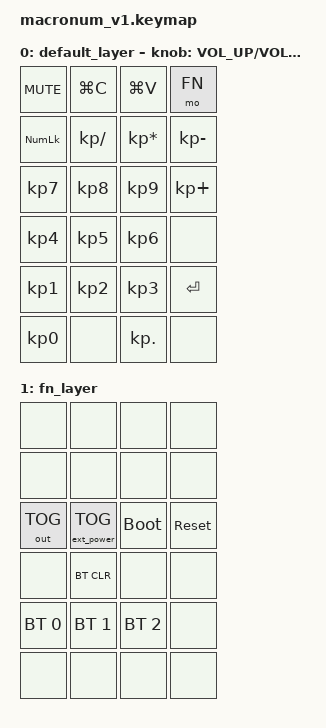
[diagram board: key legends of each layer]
/*
 * Copyright (c) 2022 The ZMK Contributors
 *
 * SPDX-License-Identifier: MIT
 */

#include <behaviors.dtsi>
#include <dt-bindings/zmk/keys.h>
#include <dt-bindings/zmk/bt.h>
#include <dt-bindings/zmk/outputs.h>
#include <dt-bindings/zmk/ext_power.h>


#define DEFAULT 0
#define FN      1

/ {
    keymap {
        compatible = "zmk,keymap";

        default_layer {
            bindings = <
                &kp K_MUTE      &kp LG(C)     &kp LG(V)       &mo FN
                &kp KP_NLCK     &kp KP_DIVIDE &kp KP_MULTIPLY &kp KP_MINUS
                &kp KP_N7       &kp KP_N8     &kp KP_N9       &kp KP_PLUS
                &kp KP_N4       &kp KP_N5     &kp KP_N6       &none
                &kp KP_N1       &kp KP_N2     &kp KP_N3       &kp ENTER
                &kp KP_N0       &none         &kp KP_DOT      &none
            >;
            sensor-bindings = <
                &inc_dec_kp C_VOL_UP C_VOL_DN
            >;
        };

        fn_layer {
            bindings = <
                &none          &none             &none              &none
                &none          &none             &none              &none
                &out OUT_TOG   &ext_power EP_TOG &bootloader        &sys_reset
                &none          &bt BT_CLR        &none              &none
                &bt BT_SEL 0   &bt BT_SEL 1      &bt BT_SEL 2       &none
                &none          &none             &none              &none
            >;
        };
    };
};
